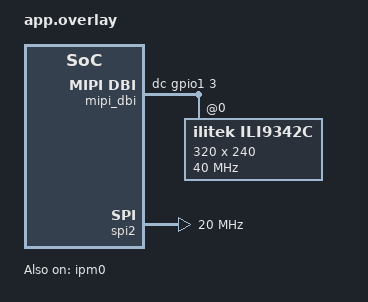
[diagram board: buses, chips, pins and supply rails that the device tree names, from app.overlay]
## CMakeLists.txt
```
# SPDX-License-Identifier: GPL-3.0-only

cmake_minimum_required(VERSION 3.28.0)
find_package(Zephyr REQUIRED HINTS $ENV{ZEPHYR_BASE})
project(deskkin_core_s3_renderer)
target_sources(app PRIVATE src/adapter.c src/background_pie.S)
target_include_directories(app PRIVATE ${ZEPHYR_BASE}/arch/xtensa/include)
rust_cargo_application()
```

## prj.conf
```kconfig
CONFIG_CONSOLE=n
CONFIG_BOOT_BANNER=n
CONFIG_PRINTK=n
CONFIG_EXCEPTION_DEBUG=n
CONFIG_COMMON_LIBC_MALLOC=n
CONFIG_DISPLAY=y
CONFIG_DMA=y
CONFIG_ESP_APPCPU_DRAM_SIZE=0x24600
CONFIG_ESP_APPCPU_IRAM_SIZE=0x4200
CONFIG_ESPTOOLPY_FLASHMODE_QIO=y
CONFIG_GPIO=y
CONFIG_HEAP_MEM_POOL_SIZE=132096
CONFIG_IPM=y
CONFIG_IDLE_STACK_SIZE=1024
CONFIG_LOG=n
CONFIG_MAIN_STACK_SIZE=4096
CONFIG_MCUBOOT_EXTRA_IMGTOOL_ARGS="--slot-size 0x300000"
CONFIG_MP_MAX_NUM_CPUS=2
CONFIG_RUST=y
CONFIG_RUST_ALLOC=y
CONFIG_SYS_CLOCK_EXISTS=y
CONFIG_XTENSA_TIMER=y
CONFIG_XTENSA_TIMER_ID=1
CONFIG_TICKLESS_KERNEL=n
CONFIG_SYS_CLOCK_TICKS_PER_SEC=1000
CONFIG_TIMESLICE_PER_THREAD=y
```

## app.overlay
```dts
#include <zephyr/dt-bindings/display/panel.h>
#include <zephyr/dt-bindings/gpio/gpio.h>
#include "../amp-partitions.overlay"
#include "../amp-memory.overlay"

/ {
	chosen {
		zephyr,display = &ili9342c;
	};

	mipi_dbi: mipi_dbi {
		compatible = "zephyr,mipi-dbi-spi";
		dc-gpios = <&gpio1 3 GPIO_ACTIVE_HIGH>;
		spi-dev = <&spi2>;
		write-only;
		#address-cells = <1>;
		#size-cells = <0>;

		ili9342c: ili9342c@0 {
			compatible = "ilitek,ili9342c";
			mipi-max-frequency = <40000000>;
			reg = <0>;
			pixel-format = <PANEL_PIXEL_FORMAT_RGB_565X>;
			frmctr1 = [01 1f];
			display-inversion;
			width = <320>;
			height = <240>;
			rotation = <0>;
			zephyr,deferred-init;
		};
	};
};

&ipm0 {
	status = "okay";
};

&gpio0 {
	status = "okay";
};

&gpio1 {
	status = "okay";
};

&dma {
	status = "okay";
};

&spi2 {
	#address-cells = <1>;
	#size-cells = <0>;
	status = "okay";
	pinctrl-0 = <&spim2_default>;
	pinctrl-names = "default";
	clock-frequency = <20000000>;
	dma-enabled;
	dmas = <&dma 0>, <&dma 1>;
	dma-names = "rx", "tx";
	cs-gpios = <&gpio0 3 GPIO_ACTIVE_LOW>;
};
```

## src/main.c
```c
// SPDX-License-Identifier: MIT

#include <stdint.h>
#include <zephyr/device.h>
#include <zephyr/drivers/ipm.h>
#include <zephyr/kernel.h>

#define HEARTBEAT_MAGIC 0x44534b4eU
#define FAULT_AFTER_MS 10000

struct renderer_heartbeat {
	uint32_t magic;
	uint32_t generation;
	uint64_t uptime_ms;
};

int main(void)
{
	const struct device *const ipm = DEVICE_DT_GET(DT_NODELABEL(ipm0));
	if (!device_is_ready(ipm)) {
		return 1;
	}
	uint32_t generation = 0;
	while (k_uptime_get() < FAULT_AFTER_MS) {
		struct renderer_heartbeat heartbeat = {
			.magic = HEARTBEAT_MAGIC,
			.generation = ++generation,
			.uptime_ms = (uint64_t)k_uptime_get(),
		};
		(void)ipm_send(ipm, -1, sizeof(heartbeat), &heartbeat, sizeof(heartbeat));
		k_msleep(100);
	}
	for (;;) {
		/* Fault injection: APPCPU deliberately stops yielding. */
	}
	return 0;
}
```
